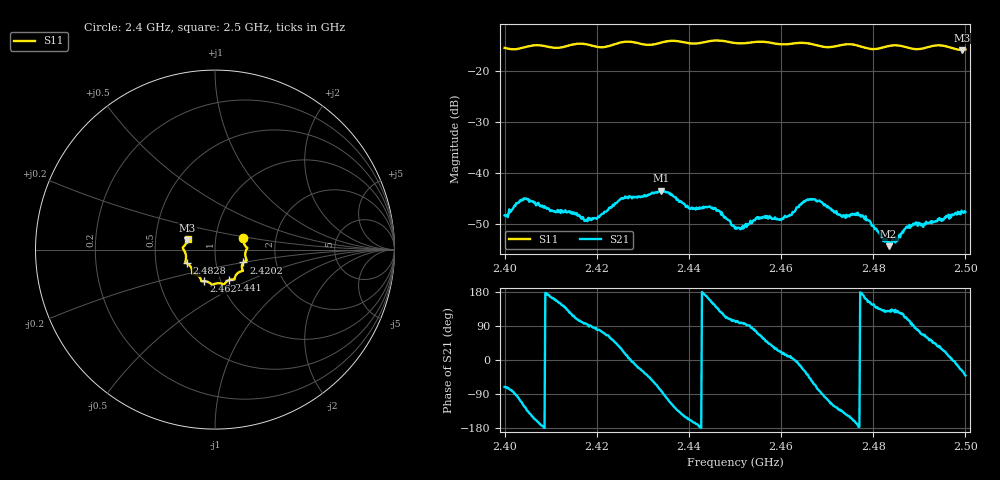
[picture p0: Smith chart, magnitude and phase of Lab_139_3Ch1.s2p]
# Hz S RI R 50
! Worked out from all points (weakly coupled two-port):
!   601 points, 2.4 GHz to 2.5 GHz, reference 50 ohm
!   highest |S21| = -43.44 dB at 2.434 GHz (marker M1); lowest = -54.3 dB at 2.4833 GHz (marker M2)
!   lowest |S11| = -15.8 dB at 2.4993 GHz (marker M3), VSWR 1.39, Z = 36.5 + j3.89 ohm
!   |S11| at or under -10 dB: start of sweep to end of sweep
!   S12 and S22 are empty: the file has one direction only
!   S11 on the Smith chart (normalised r, x): 2.4 GHz: 1.36, +0.17; 2.4202 GHz: 1.36, -0.20; 2.441 GHz: 1.10, -0.39; 2.462 GHz: 0.84, -0.30; 2.4828 GHz: 0.72, -0.11; 2.5 GHz: 0.73, +0.09
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2.4e9  0.1582 0.062  0.00124 -0.00365  0 0  0 0
2.404667e9  0.1733 0.0158  -0.00353 -0.00444  0 0  0 0
2.416667e9  0.1768 -0.0605  -0.00068 0.00352  0 0  0 0
2.420167e9  0.1582 -0.0719  0.000689 0.00361  0 0  0 0
2.425667e9  0.1554 -0.1162  0.00515 0.00227  0 0  0 0
2.433333e9  0.1119 -0.1509  0.00209 -0.00626  0 0  0 0
2.434e9  0.1106 -0.1566  0.000913 -0.00667  0 0  0 0
2.441e9  0.078 -0.1701  -0.0044 -0.00118  0 0  0 0
2.446e9  0.0499 -0.1945  -0.00322 0.00281  0 0  0 0
2.45e9  0.0278 -0.1877  -0.000629 0.0028  0 0  0 0
2.4515e9  0.0128 -0.1875  -0.000356 0.00284  0 0  0 0
2.455e9  -0.0123 -0.195  0.00126 0.00336  0 0  0 0
2.462e9  -0.0607 -0.1756  0.0038 0.000697  0 0  0 0
2.466667e9  -0.0787 -0.1677  0.00308 -0.00458  0 0  0 0
2.472833e9  -0.1195 -0.135  -0.00258 -0.00294  0 0  0 0
2.477833e9  -0.1275 -0.1164  -0.00369 0.0006  0 0  0 0
2.482833e9  -0.1573 -0.0768  -0.00143 0.00176  0 0  0 0
2.483333e9  -0.1603 -0.0754  -0.00121 0.0015  0 0  0 0
2.488833e9  -0.1614 -0.0384  1.29e-05 0.0032  0 0  0 0
2.494333e9  -0.1798 0.0101  0.00303 0.00202  0 0  0 0
2.499333e9  -0.154 0.0519  0.00365 -0.00207  0 0  0 0
2.5e9  -0.1523 0.0614  0.00315 -0.00273  0 0  0 0
